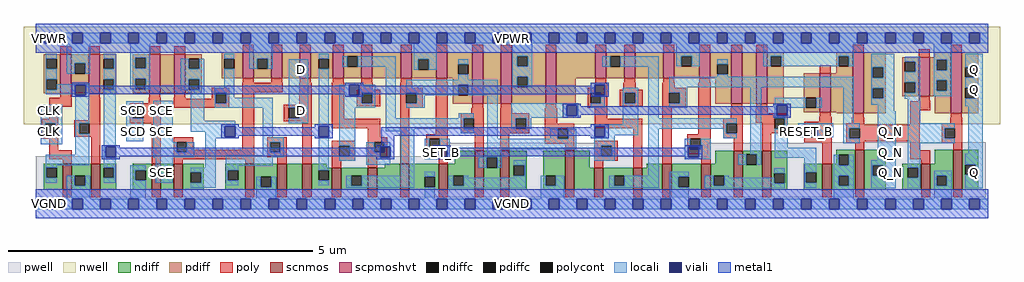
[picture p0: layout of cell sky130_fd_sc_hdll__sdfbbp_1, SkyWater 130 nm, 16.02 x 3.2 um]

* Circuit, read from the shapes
.subckt sky130_fd_sc_hdll__sdfbbp_1 CLK D RESET_B SCD SCE SET_B VGND VNB VPB VPWR Q Q_N
XM1 VGND CLK n1 VNB sky130_fd_pr__nfet_01v8 w=0.42 l=0.15
XM2 n2 n1 VGND VNB sky130_fd_pr__nfet_01v8 w=0.42 l=0.15
XM3 n3 SCD VGND VNB sky130_fd_pr__nfet_01v8 w=0.42 l=0.15
XM4 n4 SCE n3 VNB sky130_fd_pr__nfet_01v8 w=0.42 l=0.15
XM5 VGND SCE n5 VNB sky130_fd_pr__nfet_01v8 w=0.42 l=0.15
XM6 n6 n5 VGND VNB sky130_fd_pr__nfet_01v8 w=0.42 l=0.15
XM7 n4 D n6 VNB sky130_fd_pr__nfet_01v8 w=0.42 l=0.15
XM8 n7 n1 n4 VNB sky130_fd_pr__nfet_01v8 w=0.36 l=0.15
XM9 n8 n2 n7 VNB sky130_fd_pr__nfet_01v8 w=0.36 l=0.15
XM10 VGND n9 n8 VNB sky130_fd_pr__nfet_01v8 w=0.42 l=0.15
XM11 n10 SET_B VGND VNB sky130_fd_pr__nfet_01v8 w=0.42 l=0.15
XM12 n9 n7 n10 VNB sky130_fd_pr__nfet_01v8 w=0.64 l=0.15
XM13 n10 n11 n9 VNB sky130_fd_pr__nfet_01v8 w=0.64 l=0.15
XM14 n12 n9 VGND VNB sky130_fd_pr__nfet_01v8 w=0.64 l=0.15
XM15 n13 n2 n12 VNB sky130_fd_pr__nfet_01v8 w=0.36 l=0.15
XM16 n14 n1 n13 VNB sky130_fd_pr__nfet_01v8 w=0.36 l=0.15
XM17 VGND n15 n14 VNB sky130_fd_pr__nfet_01v8 w=0.42 l=0.15
XM18 n16 SET_B VGND VNB sky130_fd_pr__nfet_01v8 w=0.42 l=0.15
XM19 n15 n13 n16 VNB sky130_fd_pr__nfet_01v8 w=0.64 l=0.15
XM20 n16 n11 n15 VNB sky130_fd_pr__nfet_01v8 w=0.64 l=0.15
XM21 VGND RESET_B n11 VNB sky130_fd_pr__nfet_01v8 w=0.42 l=0.15
XM22 Q_N n15 VGND VNB sky130_fd_pr__nfet_01v8 w=0.65 l=0.15
XM23 VGND n15 n17 VNB sky130_fd_pr__nfet_01v8 w=0.42 l=0.15
XM24 Q n17 VGND VNB sky130_fd_pr__nfet_01v8 w=0.65 l=0.15
XM25 VPWR CLK n1 VPB sky130_fd_pr__pfet_01v8_hvt w=0.64 l=0.18
XM26 n2 n1 VPWR VPB sky130_fd_pr__pfet_01v8_hvt w=0.64 l=0.18
XM27 n18 SCD VPWR VPB sky130_fd_pr__pfet_01v8_hvt w=0.64 l=0.18
XM28 n4 n5 n18 VPB sky130_fd_pr__pfet_01v8_hvt w=0.64 l=0.18
XM29 VPWR SCE n5 VPB sky130_fd_pr__pfet_01v8_hvt w=0.42 l=0.18
XM30 n19 SCE VPWR VPB sky130_fd_pr__pfet_01v8_hvt w=0.42 l=0.18
XM31 n4 D n19 VPB sky130_fd_pr__pfet_01v8_hvt w=0.42 l=0.18
XM32 n7 n2 n4 VPB sky130_fd_pr__pfet_01v8_hvt w=0.42 l=0.18
XM33 n20 n1 n7 VPB sky130_fd_pr__pfet_01v8_hvt w=0.42 l=0.18
XM34 VPWR n9 n20 VPB sky130_fd_pr__pfet_01v8_hvt w=0.42 l=0.18
XM35 n9 SET_B VPWR VPB sky130_fd_pr__pfet_01v8_hvt w=0.42 l=0.18
XM36 n21 n7 n9 VPB sky130_fd_pr__pfet_01v8_hvt w=0.84 l=0.18
XM37 VPWR n11 n21 VPB sky130_fd_pr__pfet_01v8_hvt w=0.84 l=0.18
XM38 n22 n9 VPWR VPB sky130_fd_pr__pfet_01v8_hvt w=0.84 l=0.18
XM39 n13 n1 n22 VPB sky130_fd_pr__pfet_01v8_hvt w=0.42 l=0.18
XM40 n23 n2 n13 VPB sky130_fd_pr__pfet_01v8_hvt w=0.42 l=0.18
XM41 VPWR n15 n23 VPB sky130_fd_pr__pfet_01v8_hvt w=0.42 l=0.18
XM42 n15 SET_B VPWR VPB sky130_fd_pr__pfet_01v8_hvt w=0.42 l=0.18
XM43 n24 n13 n15 VPB sky130_fd_pr__pfet_01v8_hvt w=0.84 l=0.18
XM44 VPWR n11 n24 VPB sky130_fd_pr__pfet_01v8_hvt w=0.84 l=0.18
XM45 VPWR RESET_B n11 VPB sky130_fd_pr__pfet_01v8_hvt w=0.64 l=0.18
XM46 Q_N n15 VPWR VPB sky130_fd_pr__pfet_01v8_hvt w=1 l=0.18
XM47 VPWR n15 n17 VPB sky130_fd_pr__pfet_01v8_hvt w=0.64 l=0.18
XM48 Q n17 VPWR VPB sky130_fd_pr__pfet_01v8_hvt w=1 l=0.18
.ends

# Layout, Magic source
magic
tech sky130A
magscale 1 2
<< nwell >>
rect -38 261 3166 582
<< pwell >>
rect 2602 201 3120 203
rect 1350 157 1845 201
rect 2205 157 3120 201
rect 1 21 3120 157
rect 29 -17 63 21
<< scnmos >>
rect 89 47 119 131
rect 183 47 213 131
rect 381 47 411 131
rect 453 47 483 131
rect 688 47 718 131
rect 794 47 824 131
rect 876 47 906 131
rect 973 47 1003 119
rect 1091 47 1121 119
rect 1197 47 1227 131
rect 1323 47 1353 131
rect 1441 47 1471 175
rect 1525 47 1555 175
rect 1739 47 1769 175
rect 1834 47 1864 119
rect 1962 47 1992 119
rect 2058 47 2088 131
rect 2186 47 2216 131
rect 2292 47 2322 175
rect 2385 47 2415 175
rect 2583 47 2613 131
rect 2690 47 2720 177
rect 2907 47 2937 131
rect 3012 47 3042 177
<< scpmoshvt >>
rect 81 363 117 491
rect 175 363 211 491
rect 373 363 409 491
rect 455 363 491 491
rect 680 413 716 497
rect 774 413 810 497
rect 868 413 904 497
rect 975 413 1011 497
rect 1069 413 1105 497
rect 1199 413 1235 497
rect 1315 413 1351 497
rect 1433 329 1469 497
rect 1527 329 1563 497
rect 1674 329 1710 497
rect 1838 413 1874 497
rect 1932 413 1968 497
rect 2060 413 2096 497
rect 2178 413 2214 497
rect 2284 329 2320 497
rect 2366 329 2402 497
rect 2575 301 2611 429
rect 2682 297 2718 497
rect 2899 353 2935 481
rect 3004 297 3040 497
<< ndiff >>
rect 27 119 89 131
rect 27 85 35 119
rect 69 85 89 119
rect 27 47 89 85
rect 119 93 183 131
rect 119 59 129 93
rect 163 59 183 93
rect 119 47 183 59
rect 213 119 265 131
rect 213 85 223 119
rect 257 85 265 119
rect 213 47 265 85
rect 319 111 381 131
rect 319 77 327 111
rect 361 77 381 111
rect 319 47 381 77
rect 411 47 453 131
rect 483 103 552 131
rect 483 69 510 103
rect 544 69 552 103
rect 483 47 552 69
rect 623 111 688 131
rect 623 77 631 111
rect 665 77 688 111
rect 623 47 688 77
rect 718 89 794 131
rect 718 55 740 89
rect 774 55 794 89
rect 718 47 794 55
rect 824 47 876 131
rect 906 119 956 131
rect 1376 131 1441 175
rect 1146 119 1197 131
rect 906 111 973 119
rect 906 77 929 111
rect 963 77 973 111
rect 906 47 973 77
rect 1003 93 1091 119
rect 1003 59 1036 93
rect 1070 59 1091 93
rect 1003 47 1091 59
rect 1121 47 1197 119
rect 1227 89 1323 131
rect 1227 55 1277 89
rect 1311 55 1323 89
rect 1227 47 1323 55
rect 1353 93 1441 131
rect 1353 59 1371 93
rect 1405 59 1441 93
rect 1353 47 1441 59
rect 1471 153 1525 175
rect 1471 119 1481 153
rect 1515 119 1525 153
rect 1471 47 1525 119
rect 1555 127 1612 175
rect 1555 93 1570 127
rect 1604 93 1612 127
rect 1555 47 1612 93
rect 1666 93 1739 175
rect 1666 59 1674 93
rect 1708 59 1739 93
rect 1666 47 1739 59
rect 1769 119 1819 175
rect 2231 131 2292 175
rect 2007 119 2058 131
rect 1769 47 1834 119
rect 1864 93 1962 119
rect 1864 59 1899 93
rect 1933 59 1962 93
rect 1864 47 1962 59
rect 1992 47 2058 119
rect 2088 89 2186 131
rect 2088 55 2110 89
rect 2144 55 2186 89
rect 2088 47 2186 55
rect 2216 93 2292 131
rect 2216 59 2226 93
rect 2260 59 2292 93
rect 2216 47 2292 59
rect 2322 163 2385 175
rect 2322 129 2333 163
rect 2367 129 2385 163
rect 2322 47 2385 129
rect 2415 101 2467 175
rect 2628 161 2690 177
rect 2628 131 2636 161
rect 2415 67 2425 101
rect 2459 67 2467 101
rect 2415 47 2467 67
rect 2521 103 2583 131
rect 2521 69 2529 103
rect 2563 69 2583 103
rect 2521 47 2583 69
rect 2613 127 2636 131
rect 2670 127 2690 161
rect 2613 93 2690 127
rect 2613 59 2636 93
rect 2670 59 2690 93
rect 2613 47 2690 59
rect 2720 127 2791 177
rect 2952 131 3012 177
rect 2720 93 2749 127
rect 2783 93 2791 127
rect 2720 47 2791 93
rect 2845 119 2907 131
rect 2845 85 2863 119
rect 2897 85 2907 119
rect 2845 47 2907 85
rect 2937 93 3012 131
rect 2937 59 2958 93
rect 2992 59 3012 93
rect 2937 47 3012 59
rect 3042 129 3094 177
rect 3042 95 3052 129
rect 3086 95 3094 129
rect 3042 47 3094 95
<< pdiff >>
rect 27 477 81 491
rect 27 443 35 477
rect 69 443 81 477
rect 27 409 81 443
rect 27 375 35 409
rect 69 375 81 409
rect 27 363 81 375
rect 117 461 175 491
rect 117 427 129 461
rect 163 427 175 461
rect 117 363 175 427
rect 211 477 265 491
rect 211 443 223 477
rect 257 443 265 477
rect 211 409 265 443
rect 211 375 223 409
rect 257 375 265 409
rect 211 363 265 375
rect 319 479 373 491
rect 319 445 327 479
rect 361 445 373 479
rect 319 411 373 445
rect 319 377 327 411
rect 361 377 373 411
rect 319 363 373 377
rect 409 363 455 491
rect 491 477 545 491
rect 491 443 503 477
rect 537 443 545 477
rect 491 409 545 443
rect 611 477 680 497
rect 611 443 619 477
rect 653 443 680 477
rect 611 413 680 443
rect 716 477 774 497
rect 716 443 728 477
rect 762 443 774 477
rect 716 413 774 443
rect 810 413 868 497
rect 904 477 975 497
rect 904 443 929 477
rect 963 443 975 477
rect 904 413 975 443
rect 1011 484 1069 497
rect 1011 450 1023 484
rect 1057 450 1069 484
rect 1011 413 1069 450
rect 1105 413 1199 497
rect 1235 475 1315 497
rect 1235 441 1257 475
rect 1291 441 1315 475
rect 1235 413 1315 441
rect 1351 459 1433 497
rect 1351 425 1387 459
rect 1421 425 1433 459
rect 1351 413 1433 425
rect 491 375 503 409
rect 537 375 545 409
rect 491 363 545 375
rect 1369 391 1433 413
rect 1369 357 1387 391
rect 1421 357 1433 391
rect 1369 329 1433 357
rect 1469 329 1527 497
rect 1563 485 1674 497
rect 1563 451 1581 485
rect 1615 451 1674 485
rect 1563 417 1674 451
rect 1563 383 1581 417
rect 1615 383 1674 417
rect 1563 329 1674 383
rect 1710 413 1838 497
rect 1874 484 1932 497
rect 1874 450 1886 484
rect 1920 450 1932 484
rect 1874 413 1932 450
rect 1968 413 2060 497
rect 2096 485 2178 497
rect 2096 451 2120 485
rect 2154 451 2178 485
rect 2096 413 2178 451
rect 2214 459 2284 497
rect 2214 425 2238 459
rect 2272 425 2284 459
rect 2214 413 2284 425
rect 1710 329 1774 413
rect 2231 329 2284 413
rect 2320 329 2366 497
rect 2402 485 2456 497
rect 2402 451 2414 485
rect 2448 451 2456 485
rect 2628 485 2682 497
rect 2402 329 2456 451
rect 2628 451 2636 485
rect 2670 451 2682 485
rect 2628 429 2682 451
rect 2521 349 2575 429
rect 2521 315 2529 349
rect 2563 315 2575 349
rect 2521 301 2575 315
rect 2611 301 2682 429
rect 2630 297 2682 301
rect 2718 448 2791 497
rect 2952 481 3004 497
rect 2718 414 2749 448
rect 2783 414 2791 448
rect 2718 380 2791 414
rect 2718 346 2749 380
rect 2783 346 2791 380
rect 2845 467 2899 481
rect 2845 433 2853 467
rect 2887 433 2899 467
rect 2845 399 2899 433
rect 2845 365 2853 399
rect 2887 365 2899 399
rect 2845 353 2899 365
rect 2935 473 3004 481
rect 2935 439 2958 473
rect 2992 439 3004 473
rect 2935 405 3004 439
rect 2935 371 2958 405
rect 2992 371 3004 405
rect 2935 353 3004 371
rect 2718 297 2791 346
rect 2952 297 3004 353
rect 3040 449 3094 497
rect 3040 415 3052 449
rect 3086 415 3094 449
rect 3040 381 3094 415
rect 3040 347 3052 381
rect 3086 347 3094 381
rect 3040 297 3094 347
<< ndiffc >>
rect 35 85 69 119
rect 129 59 163 93
rect 223 85 257 119
rect 327 77 361 111
rect 510 69 544 103
rect 631 77 665 111
rect 740 55 774 89
rect 929 77 963 111
rect 1036 59 1070 93
rect 1277 55 1311 89
rect 1371 59 1405 93
rect 1481 119 1515 153
rect 1570 93 1604 127
rect 1674 59 1708 93
rect 1899 59 1933 93
rect 2110 55 2144 89
rect 2226 59 2260 93
rect 2333 129 2367 163
rect 2425 67 2459 101
rect 2529 69 2563 103
rect 2636 127 2670 161
rect 2636 59 2670 93
rect 2749 93 2783 127
rect 2863 85 2897 119
rect 2958 59 2992 93
rect 3052 95 3086 129
<< pdiffc >>
rect 35 443 69 477
rect 35 375 69 409
rect 129 427 163 461
rect 223 443 257 477
rect 223 375 257 409
rect 327 445 361 479
rect 327 377 361 411
rect 503 443 537 477
rect 619 443 653 477
rect 728 443 762 477
rect 929 443 963 477
rect 1023 450 1057 484
rect 1257 441 1291 475
rect 1387 425 1421 459
rect 503 375 537 409
rect 1387 357 1421 391
rect 1581 451 1615 485
rect 1581 383 1615 417
rect 1886 450 1920 484
rect 2120 451 2154 485
rect 2238 425 2272 459
rect 2414 451 2448 485
rect 2636 451 2670 485
rect 2529 315 2563 349
rect 2749 414 2783 448
rect 2749 346 2783 380
rect 2853 433 2887 467
rect 2853 365 2887 399
rect 2958 439 2992 473
rect 2958 371 2992 405
rect 3052 415 3086 449
rect 3052 347 3086 381
<< poly >>
rect 81 491 117 517
rect 175 491 211 517
rect 373 491 409 517
rect 455 491 491 517
rect 680 497 716 523
rect 774 497 810 523
rect 868 497 904 523
rect 975 497 1011 523
rect 1069 497 1105 523
rect 1199 497 1235 523
rect 1315 497 1351 523
rect 1433 497 1469 523
rect 1527 497 1563 523
rect 1674 497 1710 523
rect 1838 497 1874 523
rect 1932 497 1968 523
rect 2060 497 2096 523
rect 2178 497 2214 523
rect 2284 497 2320 523
rect 2366 497 2402 523
rect 2682 497 2718 523
rect 680 398 716 413
rect 774 398 810 413
rect 868 398 904 413
rect 975 398 1011 413
rect 1069 398 1105 413
rect 1199 398 1235 413
rect 1315 398 1351 413
rect 678 397 718 398
rect 772 397 812 398
rect 579 365 636 381
rect 81 348 117 363
rect 175 348 211 363
rect 373 348 409 363
rect 455 348 491 363
rect 45 318 119 348
rect 45 280 75 318
rect 21 264 75 280
rect 173 274 213 348
rect 371 331 411 348
rect 21 230 31 264
rect 65 230 75 264
rect 21 214 75 230
rect 127 264 213 274
rect 309 315 411 331
rect 453 345 493 348
rect 579 345 592 365
rect 453 331 592 345
rect 626 331 636 365
rect 453 315 636 331
rect 678 367 812 397
rect 309 281 319 315
rect 353 281 411 315
rect 309 265 411 281
rect 127 230 143 264
rect 177 230 213 264
rect 127 220 213 230
rect 45 176 75 214
rect 45 146 119 176
rect 89 131 119 146
rect 183 131 213 220
rect 381 131 411 265
rect 453 203 517 219
rect 453 169 463 203
rect 497 177 517 203
rect 678 177 718 367
rect 866 325 906 398
rect 815 315 906 325
rect 815 281 831 315
rect 865 281 906 315
rect 815 271 906 281
rect 497 169 718 177
rect 453 147 718 169
rect 760 203 824 219
rect 760 169 770 203
rect 804 169 824 203
rect 760 153 824 169
rect 453 131 483 147
rect 688 131 718 147
rect 794 131 824 153
rect 876 131 906 271
rect 973 279 1013 398
rect 1067 375 1107 398
rect 1197 381 1237 398
rect 1055 365 1131 375
rect 1055 331 1071 365
rect 1105 331 1131 365
rect 1055 321 1131 331
rect 1197 365 1271 381
rect 1197 331 1217 365
rect 1251 331 1271 365
rect 1197 315 1271 331
rect 973 249 1131 279
rect 1091 219 1131 249
rect 973 191 1049 207
rect 973 157 997 191
rect 1031 157 1049 191
rect 973 141 1049 157
rect 1091 203 1155 219
rect 1091 169 1111 203
rect 1145 169 1155 203
rect 1091 153 1155 169
rect 973 119 1003 141
rect 1091 119 1121 153
rect 1197 131 1227 315
rect 1313 229 1353 398
rect 1838 398 1874 413
rect 1932 398 1968 413
rect 2060 398 2096 413
rect 2178 398 2214 413
rect 1836 381 1876 398
rect 1812 365 1876 381
rect 1930 375 1970 398
rect 2058 381 2098 398
rect 1812 331 1822 365
rect 1856 331 1876 365
rect 1433 314 1469 329
rect 1527 314 1563 329
rect 1674 314 1710 329
rect 1812 315 1876 331
rect 1918 365 1994 375
rect 1918 331 1934 365
rect 1968 331 1994 365
rect 1918 321 1994 331
rect 2058 365 2134 381
rect 2058 331 2080 365
rect 2114 331 2134 365
rect 1431 297 1471 314
rect 1395 281 1471 297
rect 1395 247 1405 281
rect 1439 247 1471 281
rect 1395 231 1471 247
rect 1283 213 1353 229
rect 1283 179 1293 213
rect 1327 179 1353 213
rect 1283 163 1353 179
rect 1441 175 1471 231
rect 1525 297 1565 314
rect 1525 281 1621 297
rect 1525 247 1577 281
rect 1611 247 1621 281
rect 1525 231 1621 247
rect 1672 263 1712 314
rect 1836 279 1876 315
rect 2058 315 2134 331
rect 1672 247 1769 263
rect 1836 249 1992 279
rect 1525 175 1555 231
rect 1672 213 1715 247
rect 1749 213 1769 247
rect 1672 197 1769 213
rect 1739 175 1769 197
rect 1834 191 1911 207
rect 1323 131 1353 163
rect 1834 157 1857 191
rect 1891 157 1911 191
rect 1834 141 1911 157
rect 1834 119 1864 141
rect 1962 119 1992 249
rect 2058 131 2088 315
rect 2176 229 2216 398
rect 2575 429 2611 455
rect 2284 314 2320 329
rect 2366 314 2402 329
rect 2282 281 2322 314
rect 2139 213 2216 229
rect 2258 265 2322 281
rect 2364 297 2404 314
rect 2364 281 2470 297
rect 2575 286 2611 301
rect 2899 481 2935 507
rect 3004 497 3040 523
rect 2899 338 2935 353
rect 2897 337 2937 338
rect 2872 307 2937 337
rect 2364 267 2426 281
rect 2258 231 2268 265
rect 2302 231 2322 265
rect 2258 215 2322 231
rect 2139 179 2149 213
rect 2183 179 2216 213
rect 2139 163 2216 179
rect 2292 175 2322 215
rect 2385 247 2426 267
rect 2460 247 2470 281
rect 2573 269 2613 286
rect 2682 282 2718 297
rect 2385 231 2470 247
rect 2523 253 2613 269
rect 2680 265 2720 282
rect 2385 175 2415 231
rect 2523 219 2533 253
rect 2567 219 2613 253
rect 2523 203 2613 219
rect 2186 131 2216 163
rect 2583 131 2613 203
rect 2661 259 2720 265
rect 2872 259 2902 307
rect 3004 282 3040 297
rect 3002 265 3042 282
rect 2661 249 2902 259
rect 2661 215 2671 249
rect 2705 215 2902 249
rect 2661 205 2902 215
rect 2661 199 2720 205
rect 2690 177 2720 199
rect 2872 176 2902 205
rect 2974 249 3042 265
rect 2974 215 2984 249
rect 3018 215 3042 249
rect 2974 199 3042 215
rect 3012 177 3042 199
rect 2872 146 2937 176
rect 2907 131 2937 146
rect 89 21 119 47
rect 183 21 213 47
rect 381 21 411 47
rect 453 21 483 47
rect 688 21 718 47
rect 794 21 824 47
rect 876 21 906 47
rect 973 21 1003 47
rect 1091 21 1121 47
rect 1197 21 1227 47
rect 1323 21 1353 47
rect 1441 21 1471 47
rect 1525 21 1555 47
rect 1739 21 1769 47
rect 1834 21 1864 47
rect 1962 21 1992 47
rect 2058 21 2088 47
rect 2186 21 2216 47
rect 2292 21 2322 47
rect 2385 21 2415 47
rect 2583 21 2613 47
rect 2690 21 2720 47
rect 2907 21 2937 47
rect 3012 21 3042 47
<< polycont >>
rect 31 230 65 264
rect 592 331 626 365
rect 319 281 353 315
rect 143 230 177 264
rect 463 169 497 203
rect 831 281 865 315
rect 770 169 804 203
rect 1071 331 1105 365
rect 1217 331 1251 365
rect 997 157 1031 191
rect 1111 169 1145 203
rect 1822 331 1856 365
rect 1934 331 1968 365
rect 2080 331 2114 365
rect 1405 247 1439 281
rect 1293 179 1327 213
rect 1577 247 1611 281
rect 1715 213 1749 247
rect 1857 157 1891 191
rect 2268 231 2302 265
rect 2149 179 2183 213
rect 2426 247 2460 281
rect 2533 219 2567 253
rect 2671 215 2705 249
rect 2984 215 3018 249
<< locali >>
rect 0 527 29 561
rect 63 527 121 561
rect 155 527 213 561
rect 247 527 305 561
rect 339 527 397 561
rect 431 527 489 561
rect 523 527 581 561
rect 615 527 673 561
rect 707 527 765 561
rect 799 527 857 561
rect 891 527 949 561
rect 983 527 1041 561
rect 1075 527 1133 561
rect 1167 527 1225 561
rect 1259 527 1317 561
rect 1351 527 1409 561
rect 1443 527 1501 561
rect 1535 527 1593 561
rect 1627 527 1685 561
rect 1719 527 1777 561
rect 1811 527 1869 561
rect 1903 527 1961 561
rect 1995 527 2053 561
rect 2087 527 2145 561
rect 2179 527 2237 561
rect 2271 527 2329 561
rect 2363 527 2421 561
rect 2455 527 2513 561
rect 2547 527 2605 561
rect 2639 527 2697 561
rect 2731 527 2789 561
rect 2823 527 2881 561
rect 2915 527 2973 561
rect 3007 527 3065 561
rect 3099 527 3128 561
rect 34 477 69 493
rect 34 443 35 477
rect 34 409 69 443
rect 103 461 179 527
rect 103 427 129 461
rect 163 427 179 461
rect 223 477 264 493
rect 257 443 264 477
rect 34 375 35 409
rect 223 409 264 443
rect 69 391 177 393
rect 69 375 131 391
rect 34 359 131 375
rect 165 357 177 391
rect 17 264 87 325
rect 17 230 31 264
rect 65 230 87 264
rect 17 195 87 230
rect 131 264 177 357
rect 131 230 143 264
rect 131 161 177 230
rect 34 127 177 161
rect 257 375 264 409
rect 311 479 377 527
rect 311 445 327 479
rect 361 445 377 479
rect 619 477 653 493
rect 311 411 377 445
rect 311 377 327 411
rect 361 377 377 411
rect 477 443 503 477
rect 537 443 553 477
rect 477 409 553 443
rect 477 375 503 409
rect 537 375 553 409
rect 702 477 778 527
rect 702 443 728 477
rect 762 443 778 477
rect 929 477 963 493
rect 619 381 653 443
rect 223 187 264 375
rect 298 315 353 337
rect 298 281 319 315
rect 298 205 353 281
rect 223 153 230 187
rect 34 119 69 127
rect 34 85 35 119
rect 223 119 264 153
rect 387 203 451 339
rect 510 273 553 375
rect 589 365 653 381
rect 589 331 592 365
rect 626 349 653 365
rect 626 331 779 349
rect 589 315 779 331
rect 510 255 655 273
rect 510 237 621 255
rect 557 221 621 237
rect 557 215 655 221
rect 745 219 779 315
rect 831 315 895 475
rect 865 281 895 315
rect 831 265 895 281
rect 1007 450 1023 484
rect 1057 450 1183 484
rect 929 255 963 443
rect 387 169 463 203
rect 497 169 521 203
rect 387 153 521 169
rect 387 152 451 153
rect 34 69 69 85
rect 103 59 129 93
rect 163 59 179 93
rect 257 85 264 119
rect 223 69 264 85
rect 311 111 361 127
rect 311 77 327 111
rect 103 17 179 59
rect 311 17 361 77
rect 395 69 451 152
rect 557 119 591 215
rect 745 203 814 219
rect 745 169 770 203
rect 804 169 814 203
rect 745 159 814 169
rect 510 103 591 119
rect 544 69 591 103
rect 510 53 591 69
rect 625 153 814 159
rect 625 125 779 153
rect 625 111 665 125
rect 625 77 631 111
rect 929 111 963 221
rect 997 357 1029 391
rect 1063 365 1115 391
rect 1063 357 1071 365
rect 997 331 1071 357
rect 1105 331 1115 365
rect 997 315 1115 331
rect 997 191 1049 315
rect 1149 281 1183 450
rect 1241 475 1317 527
rect 1565 485 1631 527
rect 1241 441 1257 475
rect 1291 441 1317 475
rect 1387 459 1421 475
rect 1387 407 1421 425
rect 1565 451 1581 485
rect 1615 451 1631 485
rect 2104 485 2180 527
rect 1565 417 1631 451
rect 1860 450 1886 484
rect 1920 450 2046 484
rect 2104 451 2120 485
rect 2154 451 2180 485
rect 2388 485 2686 527
rect 2238 459 2272 475
rect 1217 391 1517 407
rect 1217 365 1387 391
rect 1251 357 1387 365
rect 1421 357 1517 391
rect 1565 383 1581 417
rect 1615 383 1631 417
rect 1822 391 1869 397
rect 1251 331 1277 357
rect 1217 315 1277 331
rect 1389 281 1439 297
rect 1149 247 1405 281
rect 1149 239 1243 247
rect 1031 157 1049 191
rect 997 141 1049 157
rect 1085 169 1111 203
rect 1145 187 1165 203
rect 1085 153 1131 169
rect 1085 129 1165 153
rect 625 61 665 77
rect 724 55 740 89
rect 774 55 790 89
rect 1199 93 1243 239
rect 1395 231 1439 247
rect 1483 213 1517 357
rect 1822 365 1835 391
rect 1856 331 1869 357
rect 1561 323 1782 331
rect 1561 289 1743 323
rect 1777 289 1782 323
rect 1822 315 1869 331
rect 1927 365 1978 381
rect 1927 331 1934 365
rect 1968 331 1978 365
rect 1561 283 1782 289
rect 1561 281 1627 283
rect 1561 247 1577 281
rect 1611 247 1627 281
rect 1927 261 1978 331
rect 1834 255 1978 261
rect 1689 213 1715 247
rect 1749 213 1775 247
rect 1277 179 1293 213
rect 1327 187 1359 213
rect 1277 153 1317 179
rect 1351 153 1359 187
rect 1483 179 1775 213
rect 1834 221 1835 255
rect 1869 225 1978 255
rect 2012 281 2046 450
rect 2388 451 2414 485
rect 2448 451 2636 485
rect 2670 451 2686 485
rect 2238 417 2272 425
rect 2743 448 2819 493
rect 2080 383 2686 417
rect 2080 365 2140 383
rect 2114 331 2140 365
rect 2080 315 2140 331
rect 2012 265 2302 281
rect 2012 247 2268 265
rect 1869 221 1902 225
rect 1834 191 1902 221
rect 1483 153 1531 179
rect 1277 147 1359 153
rect 1455 119 1481 153
rect 1515 119 1531 153
rect 1834 157 1857 191
rect 1891 157 1902 191
rect 1570 127 1609 143
rect 1834 141 1902 157
rect 929 61 963 77
rect 724 17 790 55
rect 1020 59 1036 93
rect 1070 59 1243 93
rect 1020 53 1243 59
rect 1277 89 1311 105
rect 1604 93 1609 127
rect 2012 93 2046 247
rect 2258 231 2268 247
rect 2258 215 2302 231
rect 2131 187 2149 213
rect 2131 153 2143 187
rect 2183 179 2216 213
rect 2177 153 2216 179
rect 2346 163 2383 383
rect 2131 147 2216 153
rect 2307 129 2333 163
rect 2367 129 2383 163
rect 2426 323 2529 349
rect 2426 289 2433 323
rect 2467 315 2529 323
rect 2563 315 2581 349
rect 2467 289 2469 315
rect 2426 281 2469 289
rect 2460 247 2469 281
rect 2652 265 2686 383
rect 2743 414 2749 448
rect 2783 414 2819 448
rect 2743 380 2819 414
rect 2743 346 2749 380
rect 2783 346 2819 380
rect 2743 326 2819 346
rect 2853 467 2904 483
rect 2887 433 2904 467
rect 2853 399 2904 433
rect 2887 365 2904 399
rect 2853 345 2904 365
rect 2949 473 3008 527
rect 2949 439 2958 473
rect 2992 439 3008 473
rect 2949 405 3008 439
rect 2949 371 2958 405
rect 2992 371 3008 405
rect 2949 353 3008 371
rect 3052 449 3109 493
rect 3086 415 3109 449
rect 3052 381 3109 415
rect 2764 304 2819 326
rect 2426 185 2469 247
rect 2503 253 2618 265
rect 2503 219 2533 253
rect 2567 219 2618 253
rect 2652 249 2705 265
rect 2652 215 2671 249
rect 2652 199 2705 215
rect 2426 151 2563 185
rect 1277 17 1311 55
rect 1355 59 1371 93
rect 1405 85 1421 93
rect 1570 85 1609 93
rect 1405 59 1609 85
rect 1355 51 1609 59
rect 1658 59 1674 93
rect 1708 59 1735 93
rect 1658 17 1735 59
rect 1883 59 1899 93
rect 1933 59 2046 93
rect 1883 53 2046 59
rect 2082 89 2144 105
rect 2425 101 2460 117
rect 2082 55 2110 89
rect 2082 17 2144 55
rect 2196 59 2226 93
rect 2260 85 2276 93
rect 2260 67 2425 85
rect 2459 67 2460 101
rect 2260 59 2460 67
rect 2196 51 2460 59
rect 2523 103 2563 151
rect 2523 69 2529 103
rect 2523 53 2563 69
rect 2620 127 2636 161
rect 2670 127 2686 161
rect 2764 143 2823 304
rect 2620 93 2686 127
rect 2620 59 2636 93
rect 2670 59 2686 93
rect 2620 17 2686 59
rect 2743 127 2823 143
rect 2743 93 2749 127
rect 2783 93 2823 127
rect 2743 51 2823 93
rect 2863 265 2904 345
rect 3086 347 3109 381
rect 3052 321 3109 347
rect 2863 249 3018 265
rect 2863 215 2984 249
rect 2863 199 3018 215
rect 2863 119 2904 199
rect 3062 165 3109 321
rect 2897 85 2904 119
rect 3052 129 3109 165
rect 2863 51 2904 85
rect 2950 93 3008 109
rect 2950 59 2958 93
rect 2992 59 3008 93
rect 2950 17 3008 59
rect 3086 95 3109 129
rect 3052 51 3109 95
rect 0 -17 29 17
rect 63 -17 121 17
rect 155 -17 213 17
rect 247 -17 305 17
rect 339 -17 397 17
rect 431 -17 489 17
rect 523 -17 581 17
rect 615 -17 673 17
rect 707 -17 765 17
rect 799 -17 857 17
rect 891 -17 949 17
rect 983 -17 1041 17
rect 1075 -17 1133 17
rect 1167 -17 1225 17
rect 1259 -17 1317 17
rect 1351 -17 1409 17
rect 1443 -17 1501 17
rect 1535 -17 1593 17
rect 1627 -17 1685 17
rect 1719 -17 1777 17
rect 1811 -17 1869 17
rect 1903 -17 1961 17
rect 1995 -17 2053 17
rect 2087 -17 2145 17
rect 2179 -17 2237 17
rect 2271 -17 2329 17
rect 2363 -17 2421 17
rect 2455 -17 2513 17
rect 2547 -17 2605 17
rect 2639 -17 2697 17
rect 2731 -17 2789 17
rect 2823 -17 2881 17
rect 2915 -17 2973 17
rect 3007 -17 3065 17
rect 3099 -17 3128 17
<< viali >>
rect 29 527 63 561
rect 121 527 155 561
rect 213 527 247 561
rect 305 527 339 561
rect 397 527 431 561
rect 489 527 523 561
rect 581 527 615 561
rect 673 527 707 561
rect 765 527 799 561
rect 857 527 891 561
rect 949 527 983 561
rect 1041 527 1075 561
rect 1133 527 1167 561
rect 1225 527 1259 561
rect 1317 527 1351 561
rect 1409 527 1443 561
rect 1501 527 1535 561
rect 1593 527 1627 561
rect 1685 527 1719 561
rect 1777 527 1811 561
rect 1869 527 1903 561
rect 1961 527 1995 561
rect 2053 527 2087 561
rect 2145 527 2179 561
rect 2237 527 2271 561
rect 2329 527 2363 561
rect 2421 527 2455 561
rect 2513 527 2547 561
rect 2605 527 2639 561
rect 2697 527 2731 561
rect 2789 527 2823 561
rect 2881 527 2915 561
rect 2973 527 3007 561
rect 3065 527 3099 561
rect 131 357 165 391
rect 230 153 264 187
rect 621 221 655 255
rect 929 221 963 255
rect 1029 357 1063 391
rect 1131 169 1145 187
rect 1145 169 1165 187
rect 1131 153 1165 169
rect 1835 365 1869 391
rect 1835 357 1856 365
rect 1856 357 1869 365
rect 1743 289 1777 323
rect 1317 179 1327 187
rect 1327 179 1351 187
rect 1317 153 1351 179
rect 1835 221 1869 255
rect 2143 179 2149 187
rect 2149 179 2177 187
rect 2143 153 2177 179
rect 2433 289 2467 323
rect 29 -17 63 17
rect 121 -17 155 17
rect 213 -17 247 17
rect 305 -17 339 17
rect 397 -17 431 17
rect 489 -17 523 17
rect 581 -17 615 17
rect 673 -17 707 17
rect 765 -17 799 17
rect 857 -17 891 17
rect 949 -17 983 17
rect 1041 -17 1075 17
rect 1133 -17 1167 17
rect 1225 -17 1259 17
rect 1317 -17 1351 17
rect 1409 -17 1443 17
rect 1501 -17 1535 17
rect 1593 -17 1627 17
rect 1685 -17 1719 17
rect 1777 -17 1811 17
rect 1869 -17 1903 17
rect 1961 -17 1995 17
rect 2053 -17 2087 17
rect 2145 -17 2179 17
rect 2237 -17 2271 17
rect 2329 -17 2363 17
rect 2421 -17 2455 17
rect 2513 -17 2547 17
rect 2605 -17 2639 17
rect 2697 -17 2731 17
rect 2789 -17 2823 17
rect 2881 -17 2915 17
rect 2973 -17 3007 17
rect 3065 -17 3099 17
<< metal1 >>
rect 0 561 3128 592
rect 0 527 29 561
rect 63 527 121 561
rect 155 527 213 561
rect 247 527 305 561
rect 339 527 397 561
rect 431 527 489 561
rect 523 527 581 561
rect 615 527 673 561
rect 707 527 765 561
rect 799 527 857 561
rect 891 527 949 561
rect 983 527 1041 561
rect 1075 527 1133 561
rect 1167 527 1225 561
rect 1259 527 1317 561
rect 1351 527 1409 561
rect 1443 527 1501 561
rect 1535 527 1593 561
rect 1627 527 1685 561
rect 1719 527 1777 561
rect 1811 527 1869 561
rect 1903 527 1961 561
rect 1995 527 2053 561
rect 2087 527 2145 561
rect 2179 527 2237 561
rect 2271 527 2329 561
rect 2363 527 2421 561
rect 2455 527 2513 561
rect 2547 527 2605 561
rect 2639 527 2697 561
rect 2731 527 2789 561
rect 2823 527 2881 561
rect 2915 527 2973 561
rect 3007 527 3065 561
rect 3099 527 3128 561
rect 0 496 3128 527
rect 119 391 177 397
rect 119 357 131 391
rect 165 388 177 391
rect 1017 391 1075 397
rect 1017 388 1029 391
rect 165 360 1029 388
rect 165 357 177 360
rect 119 351 177 357
rect 1017 357 1029 360
rect 1063 388 1075 391
rect 1823 391 1881 397
rect 1823 388 1835 391
rect 1063 360 1835 388
rect 1063 357 1075 360
rect 1017 351 1075 357
rect 1823 357 1835 360
rect 1869 357 1881 391
rect 1823 351 1881 357
rect 1731 323 1789 329
rect 1731 289 1743 323
rect 1777 320 1789 323
rect 2421 323 2479 329
rect 2421 320 2433 323
rect 1777 292 2433 320
rect 1777 289 1789 292
rect 1731 283 1789 289
rect 2421 289 2433 292
rect 2467 289 2479 323
rect 2421 283 2479 289
rect 609 255 667 261
rect 609 221 621 255
rect 655 252 667 255
rect 917 255 975 261
rect 917 252 929 255
rect 655 224 929 252
rect 655 221 667 224
rect 609 215 667 221
rect 917 221 929 224
rect 963 221 975 255
rect 1823 255 1881 261
rect 1823 252 1835 255
rect 917 215 975 221
rect 1134 224 1835 252
rect 1134 193 1177 224
rect 1823 221 1835 224
rect 1869 221 1881 255
rect 1823 215 1881 221
rect 218 187 276 193
rect 218 153 230 187
rect 264 184 276 187
rect 1119 187 1177 193
rect 1119 184 1131 187
rect 264 156 1131 184
rect 264 153 276 156
rect 218 147 276 153
rect 1119 153 1131 156
rect 1165 153 1177 187
rect 1119 147 1177 153
rect 1305 187 1363 193
rect 1305 153 1317 187
rect 1351 184 1363 187
rect 2131 187 2189 193
rect 2131 184 2143 187
rect 1351 156 2143 184
rect 1351 153 1363 156
rect 1305 147 1363 153
rect 2131 153 2143 156
rect 2177 153 2189 187
rect 2131 147 2189 153
rect 0 17 3128 48
rect 0 -17 29 17
rect 63 -17 121 17
rect 155 -17 213 17
rect 247 -17 305 17
rect 339 -17 397 17
rect 431 -17 489 17
rect 523 -17 581 17
rect 615 -17 673 17
rect 707 -17 765 17
rect 799 -17 857 17
rect 891 -17 949 17
rect 983 -17 1041 17
rect 1075 -17 1133 17
rect 1167 -17 1225 17
rect 1259 -17 1317 17
rect 1351 -17 1409 17
rect 1443 -17 1501 17
rect 1535 -17 1593 17
rect 1627 -17 1685 17
rect 1719 -17 1777 17
rect 1811 -17 1869 17
rect 1903 -17 1961 17
rect 1995 -17 2053 17
rect 2087 -17 2145 17
rect 2179 -17 2237 17
rect 2271 -17 2329 17
rect 2363 -17 2421 17
rect 2455 -17 2513 17
rect 2547 -17 2605 17
rect 2639 -17 2697 17
rect 2731 -17 2789 17
rect 2823 -17 2881 17
rect 2915 -17 2973 17
rect 3007 -17 3065 17
rect 3099 -17 3128 17
rect 0 -48 3128 -17
<< labels >>
flabel locali s 305 289 339 323 0 FreeSans 200 0 0 0 SCD
port 4 nsew signal input
flabel locali s 305 221 339 255 0 FreeSans 200 0 0 0 SCD
port 4 nsew signal input
flabel locali s 397 289 431 323 0 FreeSans 200 0 0 0 SCE
port 5 nsew signal input
flabel locali s 397 221 431 255 0 FreeSans 200 0 0 0 SCE
port 5 nsew signal input
flabel locali s 397 85 431 119 0 FreeSans 400 0 0 0 SCE
port 5 nsew signal input
flabel locali s 2513 221 2547 255 0 FreeSans 200 0 0 0 RESET_B
port 3 nsew signal input
flabel locali s 29 -17 63 17 3 FreeSans 400 0 0 0 VGND
port 7 nsew ground bidirectional
flabel locali s 29 221 63 255 0 FreeSans 400 0 0 0 CLK
port 1 nsew signal input
flabel locali s 29 289 63 323 0 FreeSans 400 0 0 0 CLK
port 1 nsew signal input
flabel locali s 3065 85 3099 119 0 FreeSans 400 0 0 0 Q
port 11 nsew signal output
flabel locali s 3065 357 3099 391 0 FreeSans 400 0 0 0 Q
port 11 nsew signal output
flabel locali s 3065 425 3099 459 0 FreeSans 400 0 0 0 Q
port 11 nsew signal output
flabel locali s 29 527 63 561 3 FreeSans 400 0 0 0 VPWR
port 10 nsew power bidirectional
flabel locali s 857 289 891 323 0 FreeSans 200 0 0 0 D
port 2 nsew signal input
flabel locali s 857 425 891 459 0 FreeSans 200 0 0 0 D
port 2 nsew signal input
flabel locali s 2789 221 2823 255 0 FreeSans 400 0 0 0 Q_N
port 12 nsew signal output
flabel locali s 2789 153 2823 187 0 FreeSans 400 0 0 0 Q_N
port 12 nsew signal output
flabel locali s 2789 85 2823 119 0 FreeSans 400 0 0 0 Q_N
port 12 nsew signal output
flabel metal1 s 29 -17 63 17 0 FreeSans 200 0 0 0 VGND
port 7 nsew ground bidirectional
flabel metal1 s 29 527 63 561 0 FreeSans 200 0 0 0 VPWR
port 10 nsew power bidirectional
flabel metal1 s 1317 153 1351 187 0 FreeSans 200 0 0 0 SET_B
port 6 nsew signal input
flabel nwell s 29 527 63 561 3 FreeSans 400 0 0 0 VPB
port 9 nsew power bidirectional
flabel nwell s 46 544 46 544 0 FreeSans 200 0 0 0 VPB
port 9 nsew
flabel pwell s 29 -17 63 17 3 FreeSans 400 0 0 0 VNB
port 8 nsew ground bidirectional
flabel pwell s 46 0 46 0 0 FreeSans 200 0 0 0 VNB
port 8 nsew
rlabel comment s 0 0 0 0 4 sdfbbp_1
rlabel metal1 s 0 -48 3128 48 1 VGND
port 7 nsew ground bidirectional
rlabel metal1 s 0 496 3128 592 1 VPWR
port 10 nsew power bidirectional
<< properties >>
string LEFsite unithd
string LEFclass CORE
string FIXED_BBOX 0 0 3128 544
string GDS_FILE $PDKPATH/libs.ref/sky130_fd_sc_hdll/gds/sky130_fd_sc_hdll.gds
string LEFsymmetry X Y R90
string GDS_END 2676744
string GDS_START 2653486
string LEFproperties maskLayoutSubType "abstract" prCellType "standard" originalViewName "layout"
<< end >>
